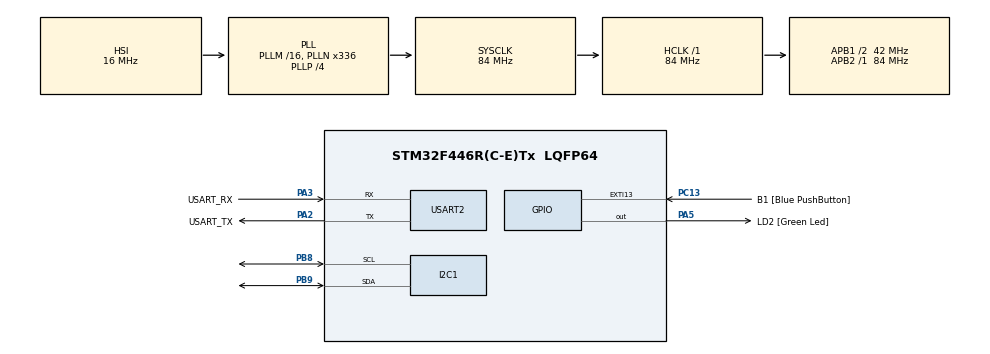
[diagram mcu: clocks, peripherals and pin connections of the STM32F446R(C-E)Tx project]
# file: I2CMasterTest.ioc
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Mcu.Family=STM32F4
Mcu.Name=STM32F446R(C-E)Tx
Mcu.Package=LQFP64
NVIC.PriorityGroup=NVIC_PRIORITYGROUP_0
PA13.GPIO_Label=TMS
PA13.Mode=Serial_Wire
PA13.Signal=SYS_JTMS-SWDIO
PA14.GPIO_Label=TCK
PA14.Mode=Serial_Wire
PA14.Signal=SYS_JTCK-SWCLK
PA2.GPIO_Label=USART_TX
PA2.Mode=Asynchronous
PA2.Signal=USART2_TX
PA3.GPIO_Label=USART_RX
PA3.Mode=Asynchronous
PA3.Signal=USART2_RX
PA5.GPIO_Label=LD2 [Green Led]
PA5.Signal=GPIO_Output
PB3.GPIO_Label=SWO
PB3.Signal=SYS_JTDO-SWO
PB8.Mode=I2C
PB8.Signal=I2C1_SCL
PB9.Mode=I2C
PB9.Signal=I2C1_SDA
PC13.GPIO_Label=B1 [Blue PushButton]
PC13.GPIO_ModeDefaultEXTI=GPIO_MODE_IT_FALLING
PC13.Signal=GPXTI13
PC14-OSC32_IN.Mode=LSE-External-Oscillator
PC14-OSC32_IN.Signal=RCC_OSC32_IN
PC15-OSC32_OUT.Mode=LSE-External-Oscillator
PC15-OSC32_OUT.Signal=RCC_OSC32_OUT
PH0-OSC_IN.Mode=HSE-External-Oscillator
PH0-OSC_IN.Signal=RCC_OSC_IN
PH1-OSC_OUT.Mode=HSE-External-Oscillator
PH1-OSC_OUT.Signal=RCC_OSC_OUT
ProjectManager.HeapSize=0x200
ProjectManager.StackSize=0x400
ProjectManager.TargetToolchain=STM32CubeIDE
RCC.48MHZClocksFreq_Value=84000000
RCC.AHBFreq_Value=84000000
RCC.APB1CLKDivider=RCC_HCLK_DIV2
RCC.APB1Freq_Value=42000000
RCC.APB1TimFreq_Value=84000000
RCC.APB2Freq_Value=84000000
RCC.APB2TimFreq_Value=84000000
RCC.CortexFreq_Value=84000000
RCC.FLatency-AdvancedSettings=FLASH_LATENCY_2
RCC.HCLKFreq_Value=84000000
RCC.HSE_VALUE=8000000
RCC.HSI_VALUE=16000000
RCC.PLLN=336
RCC.PLLP=RCC_PLLP_DIV4
RCC.SYSCLKFreq_VALUE=84000000
RCC.SYSCLKSource=RCC_SYSCLKSOURCE_PLLCLK
RCC.USBFreq_Value=168000000
RCC.VCOOutputFreq_Value=336000000
USART2.VirtualMode=VM_ASYNC
board=NUCLEO-F446RE

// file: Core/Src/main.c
/* USER CODE BEGIN Header */
/**
  ******************************************************************************
  * @file           : main.c
  * @brief          : Main program body
  ******************************************************************************
  * @attention
  *
  * <h2><center>&copy; Copyright (c) 2021 STMicroelectronics.
  * All rights reserved.</center></h2>
  *
  * This software component is licensed by ST under BSD 3-Clause license,
  * the "License"; You may not use this file except in compliance with the
  * License. You may obtain a copy of the License at:
  *                        opensource.org/licenses/BSD-3-Clause
  *
  ******************************************************************************
  */
/* USER CODE END Header */
#include "main.h"

/* USER CODE BEGIN Includes */
#include "string.h"
#include "stdlib.h"
#include "stdio.h"
/* USER CODE END Includes */

I2C_HandleTypeDef hi2c1;

UART_HandleTypeDef huart2;

void SystemClock_Config(void);
static void MX_GPIO_Init(void);
static void MX_USART2_UART_Init(void);
static void MX_I2C1_Init(void);

int main(void)
{

  /* MCU Configuration--------------------------------------------------------*/

  /* Reset of all peripherals, Initializes the Flash interface and the Systick. */
  HAL_Init();

  /* Configure the system clock */
  SystemClock_Config();

  /* Initialize all configured peripherals */
  MX_GPIO_Init();
  MX_USART2_UART_Init();
  MX_I2C1_Init();

  /* Infinite loop */
  /* USER CODE BEGIN WHILE */

  char msg[128] = {0};
  while (1)
  {
//	  for (uint8_t device_addr = 0; device_addr < 0x7F; device_addr++)
//	  {
//		  memset(msg, 0, 128);
//
//		  uint8_t data[2] = { 0x01 };
//		  HAL_StatusTypeDef status = HAL_I2C_Master_Transmit(&hi2c1, (device_addr << 1), data, 1, 1000);
////		  HAL_StatusTypeDef status = HAL_I2C_IsDeviceReady(&hi2c1, device_addr << 1, 1, 1000);
//		  if (HAL_OK == status)
//		  {
//			  sprintf(msg, "sent bytes to slave %02x\r\n", device_addr);
//			  HAL_UART_Transmit(&huart2, (uint8_t*)msg, strlen(msg), 1000);
//		  }
//		  else if (HAL_ERROR == status)
//		  {
//			  sprintf(msg, "failed to send bytes to slave %02x\r\n", device_addr);
//			  HAL_UART_Transmit(&huart2, (uint8_t*)msg, strlen(msg), 1000);
//		  }
//	  }

	  memset(msg, 0, 128);

	  uint8_t data[2] = { 0x01 };
	  uint8_t device_addr = 0x70;
	  HAL_StatusTypeDef status = HAL_I2C_Master_Transmit(&hi2c1, (device_addr << 1), data, 1, 1000);

	  if (HAL_OK == status)
	  {
		  sprintf(msg, "sent bytes to slave %02x\r\n", device_addr);
		  HAL_UART_Transmit(&huart2, (uint8_t*)msg, strlen(msg), 1000);
	  }
	  else if (HAL_ERROR == status)
	  {
		  sprintf(msg, "failed to send bytes to slave %02x\r\n", device_addr);
		  HAL_UART_Transmit(&huart2, (uint8_t*)msg, strlen(msg), 1000);
	  }

	  uint8_t recv_data[2] = {0};
	  status = HAL_I2C_Master_Receive(&hi2c1, (device_addr << 1), recv_data, 2, 1000);

	  if (HAL_OK == status)
	  {
		  sprintf(msg, "received reply from slave.\r\n");
		  HAL_UART_Transmit(&huart2, (uint8_t*)msg, strlen(msg), 1000);

		  sprintf(msg, "buffer: %02x %02x \r\n", recv_data[0], recv_data[1]);
		  HAL_UART_Transmit(&huart2, (uint8_t*)msg, strlen(msg), 1000);

		  int distance = (recv_data[0]) | (recv_data[1] << 8);
		  sprintf(msg, "measured distance: %d cm\r\n", distance);
		  HAL_UART_Transmit(&huart2, (uint8_t*)msg, strlen(msg), 1000);
	  }
	  else
	  {
		  sprintf(msg, "receive timeout while waiting for reply from slave.\r\n");
		  HAL_UART_Transmit(&huart2, (uint8_t*)msg, strlen(msg), 1000);
	  }

	  HAL_Delay(30*1000);
    /* USER CODE END WHILE */

  }
}

void SystemClock_Config(void)
{
  RCC_OscInitTypeDef RCC_OscInitStruct = {0};
  RCC_ClkInitTypeDef RCC_ClkInitStruct = {0};

  /** Configure the main internal regulator output voltage
  */
  __HAL_RCC_PWR_CLK_ENABLE();
  __HAL_PWR_VOLTAGESCALING_CONFIG(PWR_REGULATOR_VOLTAGE_SCALE3);
  /** Initializes the RCC Oscillators according to the specified parameters
  * in the RCC_OscInitTypeDef structure.
  */
  RCC_OscInitStruct.OscillatorType = RCC_OSCILLATORTYPE_HSI;
  RCC_OscInitStruct.HSIState = RCC_HSI_ON;
  RCC_OscInitStruct.HSICalibrationValue = RCC_HSICALIBRATION_DEFAULT;
  RCC_OscInitStruct.PLL.PLLState = RCC_PLL_ON;
  RCC_OscInitStruct.PLL.PLLSource = RCC_PLLSOURCE_HSI;
  RCC_OscInitStruct.PLL.PLLM = 16;
  RCC_OscInitStruct.PLL.PLLN = 336;
  RCC_OscInitStruct.PLL.PLLP = RCC_PLLP_DIV4;
  RCC_OscInitStruct.PLL.PLLQ = 2;
  RCC_OscInitStruct.PLL.PLLR = 2;
  if (HAL_RCC_OscConfig(&RCC_OscInitStruct) != HAL_OK)
  {
    Error_Handler();
  }
  /** Initializes the CPU, AHB and APB buses clocks
  */
  RCC_ClkInitStruct.ClockType = RCC_CLOCKTYPE_HCLK|RCC_CLOCKTYPE_SYSCLK
                              |RCC_CLOCKTYPE_PCLK1|RCC_CLOCKTYPE_PCLK2;
  RCC_ClkInitStruct.SYSCLKSource = RCC_SYSCLKSOURCE_PLLCLK;
  RCC_ClkInitStruct.AHBCLKDivider = RCC_SYSCLK_DIV1;
  RCC_ClkInitStruct.APB1CLKDivider = RCC_HCLK_DIV2;
  RCC_ClkInitStruct.APB2CLKDivider = RCC_HCLK_DIV1;

  if (HAL_RCC_ClockConfig(&RCC_ClkInitStruct, FLASH_LATENCY_2) != HAL_OK)
  {
    Error_Handler();
  }
}

static void MX_I2C1_Init(void)
{

  hi2c1.Instance = I2C1;
  hi2c1.Init.ClockSpeed = 100000;
  hi2c1.Init.DutyCycle = I2C_DUTYCYCLE_2;
  hi2c1.Init.OwnAddress1 = 0;
  hi2c1.Init.AddressingMode = I2C_ADDRESSINGMODE_7BIT;
  hi2c1.Init.DualAddressMode = I2C_DUALADDRESS_DISABLE;
  hi2c1.Init.OwnAddress2 = 0;
  hi2c1.Init.GeneralCallMode = I2C_GENERALCALL_DISABLE;
  hi2c1.Init.NoStretchMode = I2C_NOSTRETCH_DISABLE;
  if (HAL_I2C_Init(&hi2c1) != HAL_OK)
  {
    Error_Handler();
  }

}

static void MX_USART2_UART_Init(void)
{

  huart2.Instance = USART2;
  huart2.Init.BaudRate = 115200;
  huart2.Init.WordLength = UART_WORDLENGTH_8B;
  huart2.Init.StopBits = UART_STOPBITS_1;
  huart2.Init.Parity = UART_PARITY_NONE;
  huart2.Init.Mode = UART_MODE_TX_RX;
  huart2.Init.HwFlowCtl = UART_HWCONTROL_NONE;
  huart2.Init.OverSampling = UART_OVERSAMPLING_16;
  if (HAL_UART_Init(&huart2) != HAL_OK)
  {
    Error_Handler();
  }

}

static void MX_GPIO_Init(void)
{
  GPIO_InitTypeDef GPIO_InitStruct = {0};

  /* GPIO Ports Clock Enable */
  __HAL_RCC_GPIOC_CLK_ENABLE();
  __HAL_RCC_GPIOH_CLK_ENABLE();
  __HAL_RCC_GPIOA_CLK_ENABLE();
  __HAL_RCC_GPIOB_CLK_ENABLE();

  /*Configure GPIO pin Output Level */
  HAL_GPIO_WritePin(LD2_GPIO_Port, LD2_Pin, GPIO_PIN_RESET);

  /*Configure GPIO pin : B1_Pin */
  GPIO_InitStruct.Pin = B1_Pin;
  GPIO_InitStruct.Mode = GPIO_MODE_IT_FALLING;
  GPIO_InitStruct.Pull = GPIO_NOPULL;
  HAL_GPIO_Init(B1_GPIO_Port, &GPIO_InitStruct);

  /*Configure GPIO pin : LD2_Pin */
  GPIO_InitStruct.Pin = LD2_Pin;
  GPIO_InitStruct.Mode = GPIO_MODE_OUTPUT_PP;
  GPIO_InitStruct.Pull = GPIO_NOPULL;
  GPIO_InitStruct.Speed = GPIO_SPEED_FREQ_LOW;
  HAL_GPIO_Init(LD2_GPIO_Port, &GPIO_InitStruct);

}

void Error_Handler(void)
{
}

/************************ (C) COPYRIGHT STMicroelectronics *****END OF FILE****/
